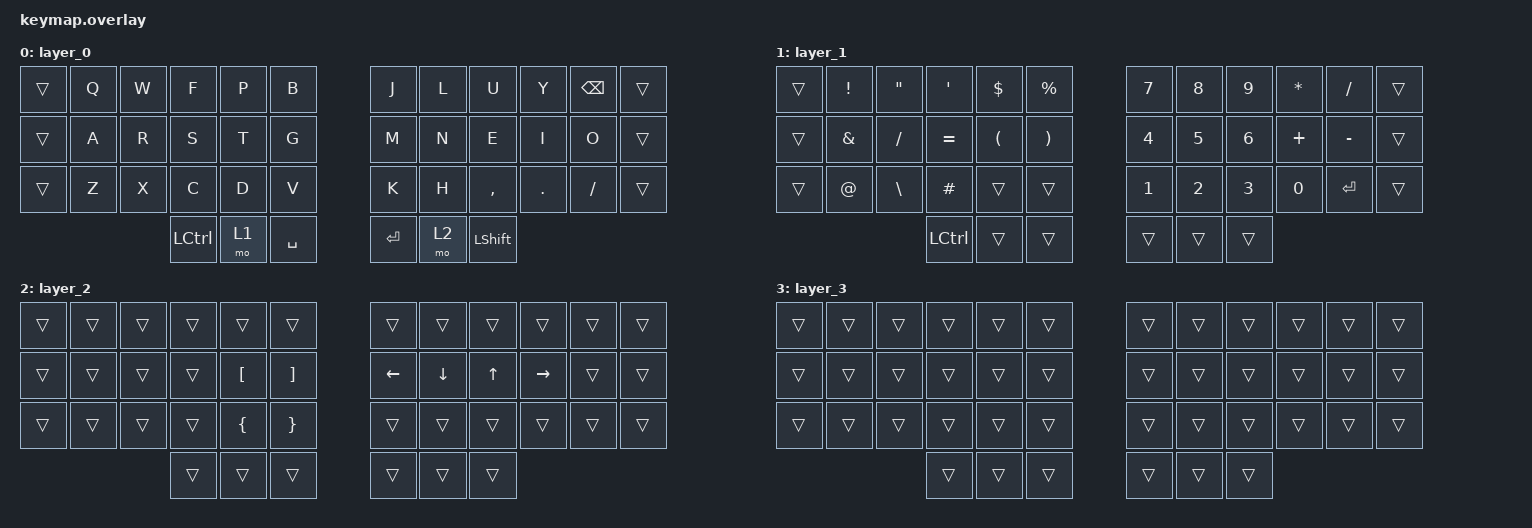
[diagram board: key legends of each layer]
#include <dt-bindings/zmk/keys.h>

/ {
    combos {
        compatible = "zmk,combos";

        ae-kirjain {
            bindings = <&kp X>;
            key-positions = <12 13>;
        };

        oe-kirjain {
            bindings = <&kp X>;
            key-positions = <21 22>;
        };

        both-layer {
            bindings = <&mo 3>;
            key-positions = <37 40>;
        };
    };

    keymap {
        compatible = "zmk,keymap";

        layer_0 {
            bindings = <
&trans  &kp Q  &kp W  &kp F             &kp P  &kp B        &kp J      &kp L  &kp U           &kp Y    &kp BACKSPACE  &trans
&trans  &kp A  &kp R  &kp S             &kp T  &kp G        &kp M      &kp N  &kp E           &kp I    &kp O          &trans
&trans  &kp Z  &kp X  &kp C             &kp D  &kp V        &kp K      &kp H  &kp COMMA       &kp DOT  &kp FSLH       &trans
                      &kp LEFT_CONTROL  &mo 1  &kp SPACE    &kp ENTER  &mo 2  &kp LEFT_SHIFT
            >;
        };

        layer_1 {
            bindings = <
&trans  &kp EXCLAMATION  &kp DOUBLE_QUOTES  &kp SQT           &kp DLLR              &kp PERCENT              &kp N7  &kp N8  &kp N9  &kp STAR  &kp FSLH   &trans
&trans  &kp AMPERSAND    &kp SLASH          &kp EQUAL         &kp LEFT_PARENTHESIS  &kp RIGHT_PARENTHESIS    &kp N4  &kp N5  &kp N6  &kp PLUS  &kp MINUS  &trans
&trans  &kp AT_SIGN      &kp BACKSLASH      &kp HASH          &trans                &trans                   &kp N1  &kp N2  &kp N3  &kp N0    &kp RET    &trans
                                            &kp LEFT_CONTROL  &trans                &trans                   &trans  &trans  &trans
            >;
        };

        layer_2 {
            bindings = <
&trans  &trans  &trans  &trans  &trans    &trans      &trans    &trans    &trans  &trans     &trans  &trans
&trans  &trans  &trans  &trans  &kp LBKT  &kp RBKT    &kp LEFT  &kp DOWN  &kp UP  &kp RIGHT  &trans  &trans
&trans  &trans  &trans  &trans  &kp LBRC  &kp RBRC    &trans    &trans    &trans  &trans     &trans  &trans
                        &trans  &trans    &trans      &trans    &trans    &trans
            >;
        };

        layer_3 {
            bindings = <
&trans  &trans  &trans  &trans  &trans  &trans    &trans  &trans  &trans  &trans  &trans  &trans
&trans  &trans  &trans  &trans  &trans  &trans    &trans  &trans  &trans  &trans  &trans  &trans
&trans  &trans  &trans  &trans  &trans  &trans    &trans  &trans  &trans  &trans  &trans  &trans
                        &trans  &trans  &trans    &trans  &trans  &trans
            >;
        };
    };
};
